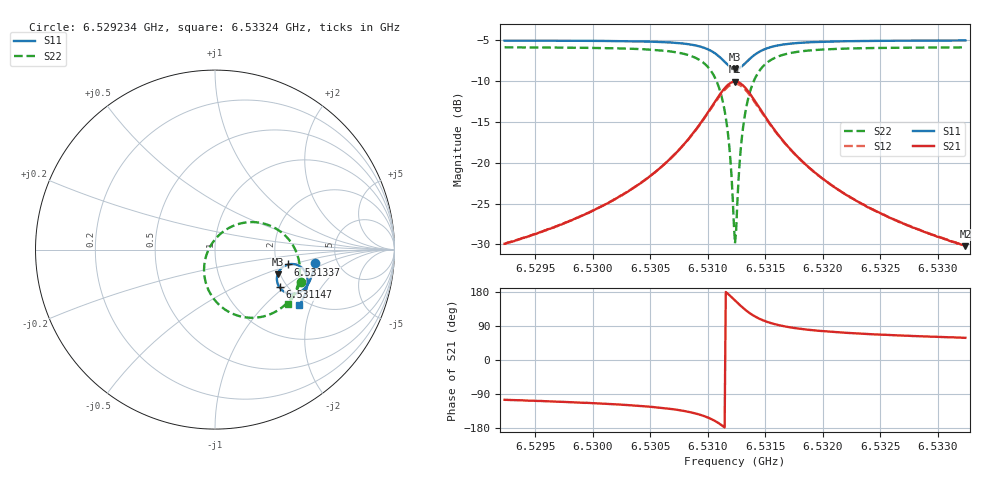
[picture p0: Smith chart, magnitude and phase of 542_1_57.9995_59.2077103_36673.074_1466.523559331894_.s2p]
#  HZ  S  RI  R  50.00
! Rohde & Schwarz Vector Network Analyzer
! Rohde-Schwarz,ZNB20-2Port,1311601062101988,3.16
! Created: UTC 3/21/2024, 1:14:38 AM
! freq[Hz]  re:S11  im:S11  re:S21  im:S21  re:S12  im:S12  re:S22  im:S22
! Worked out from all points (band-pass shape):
!   401 points, 6.529234 GHz to 6.53324 GHz, reference 50 ohm
!   highest |S21| = -10.03 dB at 6.531237 GHz (marker M1); lowest = -30.2 dB at 6.53324 GHz (marker M2)
!   |S21| within 3 dB of the highest: 6.531038 GHz to 6.531439 GHz (400.4 kHz wide, 0.00613 % of centre)
!   lowest |S11| = -8.5 dB at 6.531237 GHz (marker M3), VSWR 2.20, Z = 97 - j31.1 ohm
!   |S11| at or under -10 dB: nowhere
!   |S22| runs from -29.9 to -5.8 dB; largest |S21 - S12| = 0.012
!   S11 on the Smith chart (normalised r, x): 6.529234 GHz: 3.37, -0.75; 6.531147 GHz: 1.82, -0.93; 6.531337 GHz: 2.31, -0.46; 6.53324 GHz: 1.82, -1.64
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6.5292345e9  0.5554 -0.0759  -0.00825 -0.0308  -0.00889 -0.0307  0.4771 -0.182
6.5299054e9  0.5439 -0.1318  -0.0181 -0.0438  -0.0191 -0.0434  0.4446 -0.244
6.5305763e9  0.514 -0.1989  -0.0534 -0.0746  -0.0555 -0.0732  0.3608 -0.3316
6.5308067e9  0.4856 -0.2282  -0.0944 -0.0937  -0.0971 -0.0904  0.2779 -0.3703
6.5309769e9  0.4405 -0.2462  -0.1644 -0.099  -0.1664 -0.0923  0.1497 -0.374
6.531077e9  0.3947 -0.2394  -0.2348 -0.0707  -0.2338 -0.0608  0.0311 -0.315
6.5311471e9  0.3596 -0.2102  -0.2862 -0.00961  -0.28 0.00022  -0.0451 -0.2039
6.5311872e9  0.3469 -0.181  -0.3016 0.0449  -0.2922 0.0529  -0.0611 -0.1113
6.5312172e9  0.3452 -0.1552  -0.2996 0.0914  -0.2884 0.0965  -0.0495 -0.0358
6.5312272e9  0.3464 -0.1465  -0.2957 0.1069  -0.2843 0.1109  -0.0407 -0.011
6.5312373e9  0.3488 -0.1378  -0.2905 0.122  -0.2789 0.1251  -0.0295 0.0128
6.5312473e9  0.352 -0.1295  -0.2835 0.1365  -0.2721 0.1387  -0.0159 0.0354
6.5312573e9  0.3559 -0.1216  -0.2753 0.1501  -0.264 0.1513  -0.000122 0.0565
6.5312773e9  0.3663 -0.1075  -0.2553 0.1746  -0.2448 0.1739  0.0363 0.0928
6.5312973e9  0.3787 -0.0961  -0.232 0.1939  -0.2225 0.1919  0.0777 0.1208
6.5313374e9  0.4068 -0.0829  -0.1814 0.2169  -0.1744 0.2132  0.1646 0.1502
6.5314075e9  0.4514 -0.0835  -0.1037 0.2174  -0.1006 0.2141  0.2944 0.1381
6.5315076e9  0.4897 -0.1069  -0.0379 0.1845  -0.0362 0.1825  0.4011 0.068
6.5316578e9  0.5114 -0.1441  0.00158 0.1357  0.00262 0.1349  0.459 -0.0298
6.5319082e9  0.516 -0.188  0.0176 0.0882  0.0186 0.088  0.4729 -0.1287
6.5325791e9  0.4968 -0.2583  0.0188 0.0422  0.0197 0.0419  0.4435 -0.2452
6.5332401e9  0.4706 -0.3079  0.0161 0.0263  0.0167 0.0262  0.4093 -0.3045
